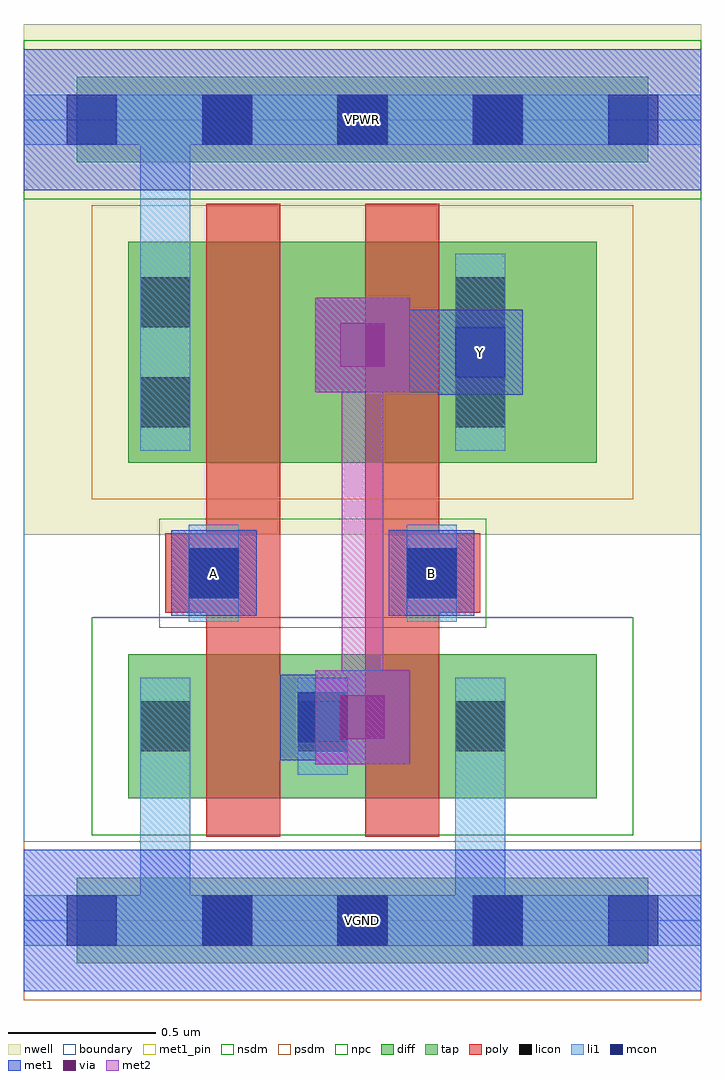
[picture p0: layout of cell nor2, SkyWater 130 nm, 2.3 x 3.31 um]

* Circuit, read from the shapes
.subckt nor2 A B VGND VPWR Y
XM1 Y A VGND VGND sky130_fd_pr__nfet_01v8 w=0.49 l=0.25
XM2 VGND B Y VGND sky130_fd_pr__nfet_01v8 w=0.49 l=0.25
XM3 n1 A VPWR VPWR sky130_fd_pr__pfet_01v8 w=0.75 l=0.25
XM4 Y B n1 VPWR sky130_fd_pr__pfet_01v8 w=0.75 l=0.25
.ends

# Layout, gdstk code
import gdstk
lib = gdstk.Library(unit=1e-6, precision=1e-09)
def R(c, l, rs):  # rectangles x0, y0, x1, y1
    for r in rs: c.add(gdstk.rectangle(r[:2], r[2:], *l))
def A(c, l, x, y, w, h, nx, ny, dx, dy):  # array of equal rectangles
    R(c, l, [(x+i*dx, y+j*dy, x+i*dx+w, y+j*dy+h) for i in range(nx) for j in range(ny)])
nwell = (64, 20)
diff = (65, 20)
tap = (65, 44)
poly = (66, 20)
licon = (66, 44)
li1 = (67, 20)
mcon = (67, 44)
met1_pin = (68, 16)
met1 = (68, 20)
via = (68, 44)
met2 = (69, 20)
nsdm = (93, 44)
psdm = (94, 20)
npc = (95, 20)
boundary = (235, 4)

nor2 = lib.new_cell('nor2')
R(nor2, nwell, [(0,1.31,2.3,3.045)])
R(nor2, diff, [(0.355,0.415,1.945,0.905), (0.355,1.555,1.945,2.305)])
R(nor2, tap, [(0.18,-0.145,2.12,0.145), (0.18,2.575,2.12,2.865)])
R(nor2, poly, [(0.62,0.285,0.87,2.435), (1.16,0.285,1.41,2.435), (0.48,1.045,0.81,1.315), (1.22,1.045,1.55,1.315)])
A(nor2, licon, 0.605, -0.085, 0.17, 0.17, 3, 2, 0.46, 2.72)
A(nor2, licon, 0.395, 0.575, 0.17, 0.17, 3, 1, 0.535, 0)
R(nor2, licon, [(0.56,1.095,0.73,1.265), (1.3,1.095,1.47,1.265), (0.395,1.675,0.565,1.845), (1.465,1.675,1.635,1.845), (0.395,2.015,0.565,2.185), (1.465,2.015,1.635,2.185)])
A(nor2, li1, 0.395, 0.495, 0.17, 0.33, 3, 1, 0.535, 0)
R(nor2, li1, [(0,-0.085,2.3,0.085), (0.395,-0.085,0.565,0.825), (1.465,-0.085,1.635,0.825), (0.56,1.015,0.73,1.345), (1.3,1.015,1.47,1.345), (0.395,1.595,0.565,2.265), (0.395,1.595,0.565,2.805), (1.465,1.595,1.635,2.265), (0,2.635,2.3,2.805)])
A(nor2, mcon, 0.145, -0.085, 0.17, 0.17, 5, 2, 0.46, 2.72)
R(nor2, mcon, [(0.93,0.605,1.1,0.775), (0.56,1.095,0.73,1.265), (1.3,1.095,1.47,1.265), (1.465,1.845,1.635,2.015)])
R(nor2, met1_pin, [(0,-0.24,2.3,0.24), (0.5,1.035,0.79,1.325), (1.24,1.035,1.53,1.325), (1.405,1.785,1.695,2.075), (0,2.48,2.3,2.96)])
R(nor2, met1, [(0,-0.24,2.3,0.24), (0.99,0.53,1.31,0.85), (0.87,0.545,1.16,0.835), (0.945,0.62,1.22,0.76), (0.5,1.035,0.79,1.325), (1.24,1.035,1.53,1.325), (1.405,1.785,1.695,2.075), (0.99,1.795,1.31,2.115), (1.31,1.795,1.405,2.075), (1.08,1.885,1.565,2.025), (1.425,1.885,1.565,2.025), (0,2.48,2.3,2.96)])
R(nor2, via, [(1.075,0.615,1.225,0.765), (1.075,1.88,1.225,2.03)])
R(nor2, met2, [(0.99,0.53,1.31,0.85), (1.08,0.62,1.22,2.025), (0.99,1.795,1.31,2.115)])
R(nor2, nsdm, [(0.23,0.29,2.07,1.03), (0,2.45,2.3,2.99)])
R(nor2, psdm, [(0,-0.27,2.3,0.27), (0.23,1.43,2.07,2.43)])
R(nor2, npc, [(0.46,0.995,1.57,1.365)])
R(nor2, boundary, [(0,0,2.3,2.72)])
nor2.add(gdstk.Label('A', (0.645,1.18), layer=68, texttype=5))
nor2.add(gdstk.Label('B', (1.385,1.18), layer=68, texttype=5))
nor2.add(gdstk.Label('Y', (1.55,1.93), layer=68, texttype=5))
nor2.add(gdstk.Label('VPWR', (1.15,2.72), layer=68, texttype=5))
nor2.add(gdstk.Label('VGND', (1.15,0), layer=68, texttype=5))
nor2.add(gdstk.Label('A', (0.645,1.18), layer=68, texttype=16))
nor2.add(gdstk.Label('B', (1.385,1.18), layer=68, texttype=16))
nor2.add(gdstk.Label('Y', (1.55,1.93), layer=68, texttype=16))
nor2.add(gdstk.Label('VPWR', (1.15,2.72), layer=68, texttype=16))
nor2.add(gdstk.Label('VGND', (1.15,0), layer=68, texttype=16))

lib.write_gds('nor2.gds')
